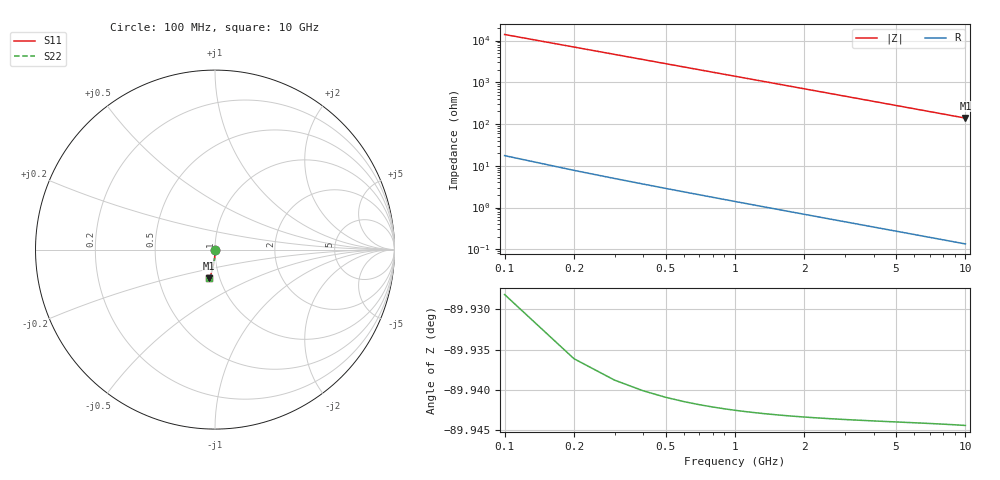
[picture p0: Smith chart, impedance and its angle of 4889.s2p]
# Hz S RI R 50.00
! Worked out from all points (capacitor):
!   100 points, 100 MHz to 10 GHz, reference 50 ohm
!   read as one part in shunt: C = 114 fF near 100 MHz
!   lowest |Z| = 139 ohm at 10 GHz (marker M1)
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1e8  5.82e-05 -0.00164  0.9999 -0.00194  0.9999 -0.00194  5.82e-05 -0.00164
2e8  4.74e-05 -0.00327  0.9999 -0.00388  0.9999 -0.00388  4.74e-05 -0.00327
3e8  3.01e-05 -0.00491  0.9999 -0.00582  0.9999 -0.00582  3.01e-05 -0.00491
4e8  6.35e-06 -0.00655  0.9999 -0.00776  0.9999 -0.00776  6.35e-06 -0.00655
5e8  -2.38e-05 -0.00818  0.9998 -0.0097  0.9998 -0.0097  -2.38e-05 -0.00818
6e8  -6.02e-05 -0.00982  0.9998 -0.0116  0.9998 -0.0116  -6.02e-05 -0.00982
7e8  -0.000103 -0.0115  0.9998 -0.0136  0.9998 -0.0136  -0.000103 -0.0115
8e8  -0.000152 -0.0131  0.9997 -0.0155  0.9997 -0.0155  -0.000152 -0.0131
9e8  -0.000208 -0.0147  0.9997 -0.0175  0.9997 -0.0175  -0.000208 -0.0147
1.1e9  -0.000338 -0.018  0.9995 -0.0213  0.9995 -0.0213  -0.000338 -0.018
1.4e9  -0.000581 -0.0229  0.9993 -0.0272  0.9993 -0.0272  -0.000581 -0.0229
1.8e9  -0.000994 -0.0295  0.9989 -0.0349  0.9989 -0.0349  -0.000994 -0.0295
2.1e9  -0.00137 -0.0344  0.9985 -0.0407  0.9985 -0.0407  -0.00137 -0.0344
2.5e9  -0.00196 -0.0409  0.9979 -0.0485  0.9979 -0.0485  -0.00196 -0.0409
2.9e9  -0.00265 -0.0474  0.9972 -0.0562  0.9972 -0.0562  -0.00265 -0.0474
3.4e9  -0.00366 -0.0555  0.9961 -0.0659  0.9961 -0.0659  -0.00366 -0.0555
4.2e9  -0.0056 -0.0685  0.9942 -0.0813  0.9942 -0.0813  -0.0056 -0.0685
5.1e9  -0.00827 -0.083  0.9915 -0.0985  0.9915 -0.0985  -0.00827 -0.083
5.9e9  -0.0111 -0.0958  0.9886 -0.1138  0.9886 -0.1138  -0.0111 -0.0958
6.7e9  -0.0142 -0.1085  0.9854 -0.1289  0.9854 -0.1289  -0.0142 -0.1085
8.4e9  -0.0223 -0.135  0.9772 -0.1607  0.9772 -0.1607  -0.0223 -0.135
1e10  -0.0314 -0.1594  0.968 -0.19  0.968 -0.19  -0.0314 -0.1594
